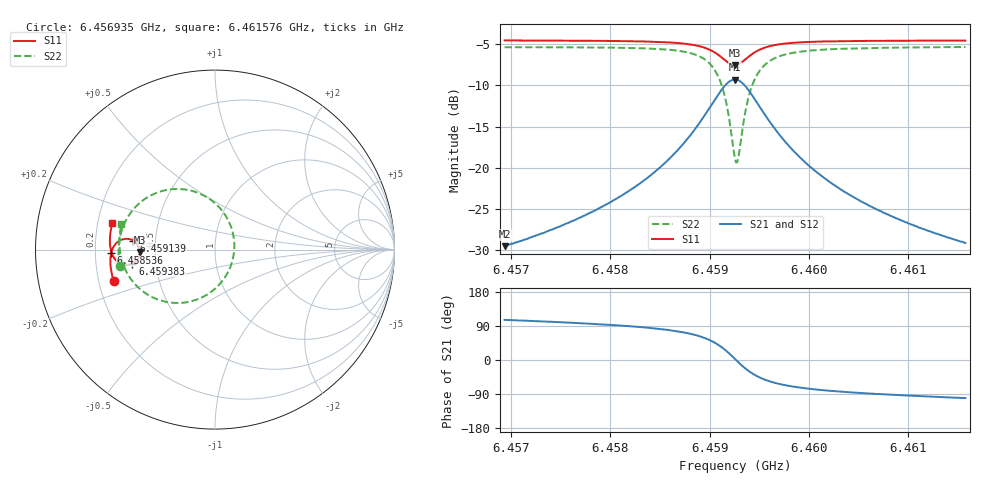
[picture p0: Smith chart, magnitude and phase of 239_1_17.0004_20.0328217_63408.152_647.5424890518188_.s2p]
#  HZ  S  RI  R  50.00
! Rohde & Schwarz Vector Network Analyzer
! Rohde-Schwarz,ZNB20-2Port,1311601062101988,3.16
! Created: UTC 3/20/2024, 11:02:47 PM
! freq[Hz]  re:S11  im:S11  re:S21  im:S21  re:S12  im:S12  re:S22  im:S22
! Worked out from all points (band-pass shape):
!   401 points, 6.456935 GHz to 6.461576 GHz, reference 50 ohm
!   highest |S21| = -9.29 dB at 6.459255 GHz (marker M1); lowest = -29.5 dB at 6.456935 GHz (marker M2)
!   |S21| within 3 dB of the highest: 6.459023 GHz to 6.459487 GHz (464.5 kHz wide, 0.00719 % of centre)
!   lowest |S11| = -7.6 dB at 6.459255 GHz (marker M3), VSWR 2.44, Z = 20.5 - j0.627 ohm
!   |S11| at or under -10 dB: nowhere
!   |S22| runs from -19.4 to -5.3 dB; largest |S21 - S12| = 0.013
!   S11 on the Smith chart (normalised r, x): 6.456935 GHz: 0.26, -0.14; 6.458536 GHz: 0.27, -0.01; 6.459139 GHz: 0.37, +0.05; 6.459383 GHz: 0.37, -0.07; 6.461576 GHz: 0.26, +0.12
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6.4569346e9  -0.5651 -0.1764  -0.00915 0.0321  -0.00749 0.0321  -0.5309 -0.0924
6.4577121e9  -0.5799 -0.1086  -0.00599 0.0499  -0.00346 0.0495  -0.5375 -0.00186
6.458153e9  -0.5832 -0.0645  1.89e-05 0.0702  0.0033 0.0688  -0.5297 0.068
6.4584895e9  -0.5797 -0.0244  0.0134 0.0982  0.0173 0.0955  -0.5055 0.1437
6.458536e9  -0.5783 -0.018  0.0167 0.1037  0.0207 0.1007  -0.4993 0.1568
6.4587448e9  -0.5662 0.0138  0.0425 0.1354  0.0468 0.1307  -0.4509 0.2288
6.4588957e9  -0.5452 0.0402  0.085 0.1657  0.0884 0.1593  -0.373 0.2932
6.4590465e9  -0.4991 0.06  0.1764 0.185  0.1775 0.1777  -0.2058 0.3378
6.4591394e9  -0.4549 0.0499  0.2659 0.1542  0.2664 0.1484  -0.0398 0.2885
6.4591858e9  -0.4337 0.0312  0.3095 0.1117  0.3109 0.1065  0.0428 0.2128
6.4592554e9  -0.4191 -0.0126  0.3427 0.0155  0.3464 0.00856  0.1076 0.0343
6.459267e9  -0.4195 -0.0206  0.3427 -0.00218  0.3464 -0.00974  0.1073 0.000843
6.4592902e9  -0.423 -0.0361  0.3372 -0.0366  0.3409 -0.0457  0.0965 -0.0645
6.4593366e9  -0.4384 -0.0619  0.309 -0.096  0.3111 -0.1078  0.0397 -0.1766
6.459383e9  -0.4604 -0.078  0.2674 -0.1369  0.2666 -0.1499  -0.0444 -0.2512
6.4594759e9  -0.5033 -0.0848  0.1835 -0.1681  0.1774 -0.1795  -0.2114 -0.2974
6.4596267e9  -0.5468 -0.0643  0.0963 -0.1547  0.088 -0.1608  -0.3777 -0.2492
6.4597892e9  -0.5683 -0.0368  0.0516 -0.1274  0.0443 -0.1302  -0.4579 -0.1783
6.4600329e9  -0.581 -0.00121  0.0226 -0.0962  0.0168 -0.0969  -0.5062 -0.0965
6.4603694e9  -0.5856 0.0386  0.00692 -0.0705  0.00285 -0.0701  -0.5275 -0.0198
6.4608103e9  -0.5838 0.0828  -0.00124 -0.0514  -0.00398 -0.0506  -0.5327 0.0506
6.4615762e9  -0.5716 0.1506  -0.00632 -0.0343  -0.00816 -0.0335  -0.5216 0.1407
